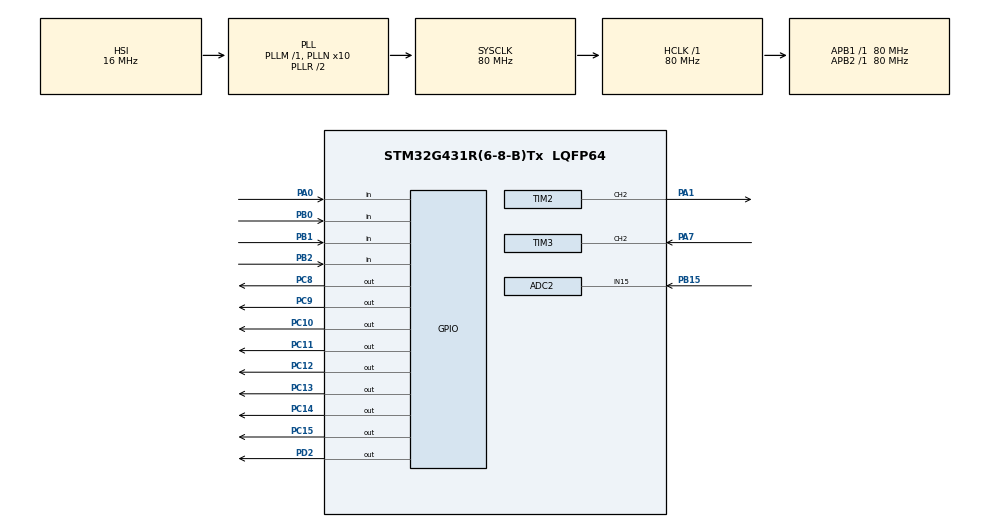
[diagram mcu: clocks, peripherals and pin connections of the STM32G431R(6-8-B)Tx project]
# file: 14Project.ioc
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ADC2.Channel-0\#ChannelRegularConversion=ADC_CHANNEL_15
ADC2.NbrOfConversionFlag=1
ADC2.OffsetNumber-0\#ChannelRegularConversion=ADC_OFFSET_NONE
ADC2.Rank-0\#ChannelRegularConversion=1
ADC2.SamplingTime-0\#ChannelRegularConversion=ADC_SAMPLETIME_2CYCLES_5
Mcu.Family=STM32G4
Mcu.Name=STM32G431R(6-8-B)Tx
Mcu.Package=LQFP64
NVIC.PriorityGroup=NVIC_PRIORITYGROUP_4
NVIC.TIM3_IRQn=true\:0\:0\:false\:false\:true\:true\:true
PA0.Signal=GPIO_Input
PA1.Signal=S_TIM2_CH2
PA13.Mode=Serial_Wire
PA13.Signal=SYS_JTMS-SWDIO
PA14.Mode=Serial_Wire
PA14.Signal=SYS_JTCK-SWCLK
PA7.Signal=S_TIM3_CH2
PB0.Signal=GPIO_Input
PB1.Signal=GPIO_Input
PB15.Mode=IN15-Single-Ended
PB15.Signal=ADC2_IN15
PB2.Signal=GPIO_Input
PC10.Signal=GPIO_Output
PC11.Signal=GPIO_Output
PC12.Signal=GPIO_Output
PC13.Signal=GPIO_Output
PC14-OSC32_IN.Signal=GPIO_Output
PC15-OSC32_OUT.Signal=GPIO_Output
PC8.Signal=GPIO_Output
PC9.Signal=GPIO_Output
PD2.Signal=GPIO_Output
PF0-OSC_IN.Mode=HSE-External-Oscillator
PF0-OSC_IN.Signal=RCC_OSC_IN
PF1-OSC_OUT.Mode=HSE-External-Oscillator
PF1-OSC_OUT.Signal=RCC_OSC_OUT
ProjectManager.HeapSize=0x200
ProjectManager.StackSize=0x400
ProjectManager.TargetToolchain=MDK-ARM V5
RCC.ADC12Freq_Value=80000000
RCC.AHBFreq_Value=80000000
RCC.APB1Freq_Value=80000000
RCC.APB1TimFreq_Value=80000000
RCC.APB2Freq_Value=80000000
RCC.APB2TimFreq_Value=80000000
RCC.CortexFreq_Value=80000000
RCC.EXTERNAL_CLOCK_VALUE=12288000
RCC.HCLKFreq_Value=80000000
RCC.HSE_VALUE=24000000
RCC.HSI48_VALUE=48000000
RCC.HSI_VALUE=16000000
RCC.LSE_VALUE=32768
RCC.PLLN=10
RCC.SYSCLKFreq_VALUE=80000000
RCC.SYSCLKSource=RCC_SYSCLKSOURCE_PLLCLK
RCC.USBFreq_Value=80000000
RCC.VCOOutputFreq_Value=160000000
SH.S_TIM2_CH2.0=TIM2_CH2,Output Compare2 CH2
SH.S_TIM3_CH2.0=TIM3_CH2,Input_Capture2_from_TI2
TIM2.AutoReloadPreload=TIM_AUTORELOAD_PRELOAD_ENABLE
TIM2.Channel-Output\ Compare2\ CH2=TIM_CHANNEL_2
TIM2.PeriodNoDither=250-1
TIM2.Prescaler=80-1
TIM2.PulseNoDither_2=25-1
TIM3.Channel-Input_Capture2_from_TI2=TIM_CHANNEL_2
TIM3.Prescaler=80-1
VP_SYS_VS_DBSignals.Mode=DisableDeadBatterySignals
VP_TIM2_VS_ClockSourceINT.Mode=Internal
VP_TIM3_VS_ClockSourceINT.Mode=Internal
board=custom

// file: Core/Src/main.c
/* USER CODE BEGIN Header */
/**
  ******************************************************************************
  * @file           : main.c
  * @brief          : Main program body
  ******************************************************************************
  * @attention
  *
  * <h2><center>&copy; Copyright (c) 2023 STMicroelectronics.
  * All rights reserved.</center></h2>
  *
  * This software component is licensed by ST under BSD 3-Clause license,
  * the "License"; You may not use this file except in compliance with the
  * License. You may obtain a copy of the License at:
  *                        opensource.org/licenses/BSD-3-Clause
  *
  ******************************************************************************
  */
/* USER CODE END Header */
#include "main.h"
#include "adc.h"
#include "tim.h"
#include "gpio.h"

/* USER CODE BEGIN Includes */
#include "lcd.h"
#include "i2c_hal.h"
#include "stdio.h"
#include "string.h"

/* USER CODE END Includes */

/* USER CODE BEGIN PD */
#define KEY1 HAL_GPIO_ReadPin(GPIOB,GPIO_PIN_0)
#define KEY2 HAL_GPIO_ReadPin(GPIOB,GPIO_PIN_1)
#define KEY3 HAL_GPIO_ReadPin(GPIOB,GPIO_PIN_2)
#define KEY4 HAL_GPIO_ReadPin(GPIOA,GPIO_PIN_0)
/* USER CODE END PD */

/* USER CODE BEGIN PV */
u8 key_val,key_down,key_up,key_old;
double ao1, ao2;
u8 sta_lcd;
u8 ptr[30];
u32 freqPa1, freqPa2;
uint32_t  cc1_value1 = 0, cc1_value2 = 0;
unsigned char tx[21],rx,rx_buf[21],dex;//串口相关变量
u8 rk_mode;
u8 tc[128];
u8 tcs = 0;
u8 led2_first = 0;
u8 led_in;
u8 e2prom[5];//EEPROM存储数组
u8 PwmSD;
u8 R_sta = 1, K_sta = 1;
u8 PwmMode;
u16 PwmNum;
u8 Pwmzb;
u8 bbbb = 0, ttt = 0;
double GPv = 0.0, DPv = 0.0;
u8 first = 0;
u8 aa = 0;
double temp;
double v_sta;
__IO uint32_t LED2_Tick;
/* USER CODE END PV */

void SystemClock_Config(void);

/* USER CODE BEGIN 0 */

u8 key_scan()
{
	if((KEY1 == 0)||(KEY2 == 0)||(KEY3 == 0)||(KEY4 == 0))
	{
		HAL_Delay(10);
		if(KEY1 == 0) return 1;
		else if(KEY2 == 0) return 2;
		else if(KEY3 == 0) return 3;
		else if(KEY4 == 0) return 4;
	}return 0;
}

void led_dis(u8 led)
{
	HAL_GPIO_WritePin(GPIOC,0xff00,GPIO_PIN_SET);
	HAL_GPIO_WritePin(GPIOD,GPIO_PIN_2,GPIO_PIN_SET);
	HAL_GPIO_WritePin(GPIOD,GPIO_PIN_2,GPIO_PIN_RESET);

	HAL_GPIO_WritePin(GPIOC,led<<8,GPIO_PIN_RESET);
	HAL_GPIO_WritePin(GPIOD,GPIO_PIN_2,GPIO_PIN_SET);
	HAL_GPIO_WritePin(GPIOD,GPIO_PIN_2,GPIO_PIN_RESET);
}

void pwm_proc(void)
{
	__IO uint32_t Key22_Tick = LED2_Tick;
	u8 ii = 125;
	u8 i2 = 250;
	u8 i3 = 0;

	if((uwTick - LED2_Tick < 5000) && ttt == 1)
	{
		if(PwmMode == 0)
		{
			if(uwTick - Key22_Tick > 100)
			{
				Key22_Tick = uwTick;
				if(i3 % 2 == 0)
					ii += 2;
				else
					ii += 3;

				i3 ++;
				__HAL_TIM_SetAutoreload(&htim2, i2-1);
				__HAL_TIM_SetCompare(&htim2,TIM_CHANNEL_2, (Pwmzb * 1.0 / 100 * i2 ) - 1);

			}
		}else if(PwmMode == 1)
		{

			if(uwTick - Key22_Tick > 100)
			{
				Key22_Tick = uwTick;

				if(i3 % 2 == 0)
					i2 -= 2;
				else
					i2 -= 3;

				i3 ++;
				__HAL_TIM_SetAutoreload(&htim2, ii-1);
				__HAL_TIM_SetCompare(&htim2,TIM_CHANNEL_2, (Pwmzb * 1.0 / 100 * ii ) - 1);

			}
		}
	}

	if(uwTick - LED2_Tick > 5000)
	{
		if(PwmMode == 0)
		{
			__HAL_TIM_SetAutoreload(&htim2, 250 - 1);
			__HAL_TIM_SetCompare(&htim2,TIM_CHANNEL_2, (Pwmzb * 1.0 / 100) * 250 - 1);

		}else
		{
			__HAL_TIM_SetAutoreload(&htim2, 125 - 1);
			__HAL_TIM_SetCompare(&htim2,TIM_CHANNEL_2, (Pwmzb * 1.0 / 100) * 125 - 1);
		}

		ttt = 0;
	}
}

void key_Proc()
{
	static __IO uint32_t Key_Tick,DKey_Tick;

	if(uwTick - Key_Tick < 50)
		return;

	Key_Tick = uwTick;

	key_val = key_scan();
	key_down = key_val&(key_val^key_old);
	key_up = ~key_val&(key_val^key_old);
	key_old = key_val;

	if(key_down != 0)
		DKey_Tick=uwTick;

	if(uwTick - DKey_Tick > 2000)
	{
		switch(key_up)
		{
			case 4:
				if(sta_lcd == 0)
				{
					if(PwmSD == 0)
						PwmSD = 1; // 锁定
				}
			break;
		}
	}else
	{
		switch (key_up)
		{
			case 1:
			{
				sta_lcd ++;
				if(sta_lcd == 3)
					sta_lcd = 0;

				if(sta_lcd == 1)
					rk_mode = 0;

				LCD_Clear(Black);
				break;
			}
			case 2:
			{
				if(sta_lcd == 0)
				{
					if((uwTick - LED2_Tick > 5000) | (led2_first == 0))
					{
						LED2_Tick = uwTick;
						ttt = 1;
						if(PwmMode == 0)// 1高频 0 低频
						{
							PwmMode = 1;
						}else if(PwmMode == 1)
						{
							PwmMode = 0;
						}
						led2_first = 1;
						PwmNum ++;
					}
				}else if(sta_lcd == 1)
				{
					if(rk_mode == 0)
					{
						rk_mode = 1;
					}
					else if(rk_mode == 1)
					{
						rk_mode = 0;
					}
				}
				break;
			}
			case 3:
			{
				if(sta_lcd == 1)
				{
					if(rk_mode == 0)
					{
						R_sta ++;
						if(R_sta > 10)
							R_sta = 1;
					}
					else if(rk_mode == 1)
					{
						K_sta ++;
						if(K_sta > 10)
							K_sta = 1;
					}
				}
				break;
			}
			case 4:
			{
				if(sta_lcd == 1)
				{
					if(rk_mode == 0)
					{
						R_sta --;
						if(R_sta < 1)
							R_sta = 10;
					}
					else if(rk_mode == 1)
					{
						K_sta --;
						if(K_sta < 1)
							K_sta = 10;
					}
				}else if(sta_lcd == 0)
				{
					if(PwmSD == 1)
						PwmSD = 0;
				}
				break;
			}
		}
	}
}

void lcd_Proc()
{
	static __IO uint32_t TEMP_Tick2;
	v_sta = (freqPa1 * 3.14 * 2 * R_sta) / 100.0 * K_sta;

	if(first == 0)
	{
		temp = (freqPa1 * 3.14 * 2 * R_sta) / 100.0 * K_sta;
		first = 1;
	}

	if(temp - v_sta < 0.000001)
	{

		if(uwTick - TEMP_Tick2 > 2000)
		{
			if(PwmMode == 0)
			{
				DPv = DPv < v_sta ? v_sta : DPv;
			}else if(PwmMode == 1)
			{
				GPv = GPv < v_sta ? v_sta : GPv;
			}
		}
	}else
	{
		temp = (freqPa1 * 3.14 * 2 * R_sta) / 100.0 * K_sta;
		TEMP_Tick2 = uwTick;
	}

	if(sta_lcd == 0)
	{
		sprintf((char*)ptr,"        DATA  ");
		LCD_DisplayStringLine(Line1,(u8*)ptr);
		if(PwmMode == 1) // 1 为高频
		{
			sprintf((char*)ptr,"     M=H  ");
		}else if(PwmMode == 0) // 0 为低频
		{
			sprintf((char*)ptr,"     M=L  ");
		}
		LCD_DisplayStringLine(Line3,(u8*)ptr);
		sprintf((char*)ptr,"     P=%d%%   ", Pwmzb);
		LCD_DisplayStringLine(Line4,(u8*)ptr);
		sprintf((char*)ptr,"     V=%.1lf   ", v_sta);
		LCD_DisplayStringLine(Line5,(u8*)ptr);

		sprintf((char*)ptr,"     V=%.1lf   ", v_sta);
		LCD_DisplayStringLine(Line5,(u8*)ptr);

	}else if(sta_lcd == 1){
		sprintf((char*)ptr,"        PARA");
		LCD_DisplayStringLine(Line1,(u8*)ptr);
		sprintf((char*)ptr,"     R=%d  ", R_sta);
		LCD_DisplayStringLine(Line3,(u8*)ptr);
		sprintf((char*)ptr,"     K=%d  ", K_sta);
		LCD_DisplayStringLine(Line4,(u8*)ptr);
	}else if(sta_lcd == 2)
	{
		sprintf((char*)ptr,"        RECD");
		LCD_DisplayStringLine(Line1,(u8*)ptr);
		sprintf((char*)ptr,"     N=%d   ", PwmNum);
		LCD_DisplayStringLine(Line3,(u8*)ptr);
		sprintf((char*)ptr,"     MH=%.1f   ", GPv);
		LCD_DisplayStringLine(Line4,(u8*)ptr);
		sprintf((char*)ptr,"     ML=%.1f   ", DPv);
		LCD_DisplayStringLine(Line5,(u8*)ptr);
	}
}

void led_Proc()
{
	static __IO uint32_t LED2_Tick2;

	if(sta_lcd == 0)
		led_in |= 0x01;
	else
		led_in &= ~(0x01);

	// LED2
	if((uwTick - LED2_Tick < 5000) && LED2_Tick != 0)
	{
		if(uwTick - LED2_Tick2 > 100)
		{
			led_in ^= 0x02;
			LED2_Tick2 = uwTick;
		}
	}else
	{
		led_in &= ~(0x02);
	}

	if(PwmSD == 1)
		led_in |= 0x04;
	else
		led_in &= ~(0x04);

	led_dis(led_in);
}

void work_Proc(void) // 获取PB15引脚的电压(对应R37电阻)
{
	uint16_t adc = 0;
	HAL_ADC_Start(&hadc2);
	adc = HAL_ADC_GetValue(&hadc2);
	ao2 = (3.3 * adc)/4096;

	if(PwmSD == 0)
	{
		if(ao2 < 1.0000001)
		{
			Pwmzb = 10;
		}else if(ao2 > 3.000001)
		{
			Pwmzb = 85;
		}else
		{
			Pwmzb = 10 + ((ao2 - 1) / 2.0) * 75;
		}
	}

	if(PwmMode == 0)
	{
		__HAL_TIM_SetCompare(&htim2,TIM_CHANNEL_2, (Pwmzb * 1.0 / 100) * 250 - 1);
	}else
	{
		__HAL_TIM_SetCompare(&htim2,TIM_CHANNEL_2, (Pwmzb * 1.0 / 100) * 125 - 1);
	}

}

void HAL_TIM_IC_CaptureCallback(TIM_HandleTypeDef *htim)
{
	uint32_t  cc1_value = 0;
	cc1_value = HAL_TIM_ReadCapturedValue(htim, TIM_CHANNEL_2);
	__HAL_TIM_SetCounter(htim, 0);

	if(htim == &htim3)
	{
			freqPa1 = 1000000 / cc1_value;
	}
	HAL_TIM_IC_Start_IT(&htim3, TIM_CHANNEL_2);

}

/* USER CODE END 0 */

int main(void)
{

  /* MCU Configuration--------------------------------------------------------*/

  /* Reset of all peripherals, Initializes the Flash interface and the Systick. */
  HAL_Init();

  /* Configure the system clock */
  SystemClock_Config();

  /* Initialize all configured peripherals */
  MX_GPIO_Init();
  MX_ADC2_Init();
  MX_TIM2_Init();
  MX_TIM3_Init();
  /* USER CODE BEGIN 2 */

	LCD_Init();
	LCD_SetBackColor(Black);
	LCD_SetTextColor(White);
	LCD_Clear(Black);
	led_dis(0);
	HAL_TIM_IC_Start_IT(&htim3, TIM_CHANNEL_2);
	HAL_TIM_PWM_Start(&htim2, TIM_CHANNEL_2);

  /* USER CODE END 2 */

  /* Infinite loop */
  while (1)
  {

    /* USER CODE BEGIN 3 */
		pwm_proc();
		work_Proc();
		key_Proc();
		lcd_Proc();
		led_Proc();
  }
  /* USER CODE END 3 */
}

void SystemClock_Config(void)
{
  RCC_OscInitTypeDef RCC_OscInitStruct = {0};
  RCC_ClkInitTypeDef RCC_ClkInitStruct = {0};
  RCC_PeriphCLKInitTypeDef PeriphClkInit = {0};

  /** Configure the main internal regulator output voltage
  */
  HAL_PWREx_ControlVoltageScaling(PWR_REGULATOR_VOLTAGE_SCALE1);
  /** Initializes the RCC Oscillators according to the specified parameters
  * in the RCC_OscInitTypeDef structure.
  */
  RCC_OscInitStruct.OscillatorType = RCC_OSCILLATORTYPE_HSI;
  RCC_OscInitStruct.HSIState = RCC_HSI_ON;
  RCC_OscInitStruct.HSICalibrationValue = RCC_HSICALIBRATION_DEFAULT;
  RCC_OscInitStruct.PLL.PLLState = RCC_PLL_ON;
  RCC_OscInitStruct.PLL.PLLSource = RCC_PLLSOURCE_HSI;
  RCC_OscInitStruct.PLL.PLLM = RCC_PLLM_DIV1;
  RCC_OscInitStruct.PLL.PLLN = 10;
  RCC_OscInitStruct.PLL.PLLP = RCC_PLLP_DIV2;
  RCC_OscInitStruct.PLL.PLLQ = RCC_PLLQ_DIV2;
  RCC_OscInitStruct.PLL.PLLR = RCC_PLLR_DIV2;
  if (HAL_RCC_OscConfig(&RCC_OscInitStruct) != HAL_OK)
  {
    Error_Handler();
  }
  /** Initializes the CPU, AHB and APB buses clocks
  */
  RCC_ClkInitStruct.ClockType = RCC_CLOCKTYPE_HCLK|RCC_CLOCKTYPE_SYSCLK
                              |RCC_CLOCKTYPE_PCLK1|RCC_CLOCKTYPE_PCLK2;
  RCC_ClkInitStruct.SYSCLKSource = RCC_SYSCLKSOURCE_PLLCLK;
  RCC_ClkInitStruct.AHBCLKDivider = RCC_SYSCLK_DIV1;
  RCC_ClkInitStruct.APB1CLKDivider = RCC_HCLK_DIV1;
  RCC_ClkInitStruct.APB2CLKDivider = RCC_HCLK_DIV1;

  if (HAL_RCC_ClockConfig(&RCC_ClkInitStruct, FLASH_LATENCY_2) != HAL_OK)
  {
    Error_Handler();
  }
  /** Initializes the peripherals clocks
  */
  PeriphClkInit.PeriphClockSelection = RCC_PERIPHCLK_ADC12;
  PeriphClkInit.Adc12ClockSelection = RCC_ADC12CLKSOURCE_SYSCLK;
  if (HAL_RCCEx_PeriphCLKConfig(&PeriphClkInit) != HAL_OK)
  {
    Error_Handler();
  }
}

void Error_Handler(void)
{
  __disable_irq();
  while (1)
  {
  }
}

/************************ (C) COPYRIGHT STMicroelectronics *****END OF FILE****/
